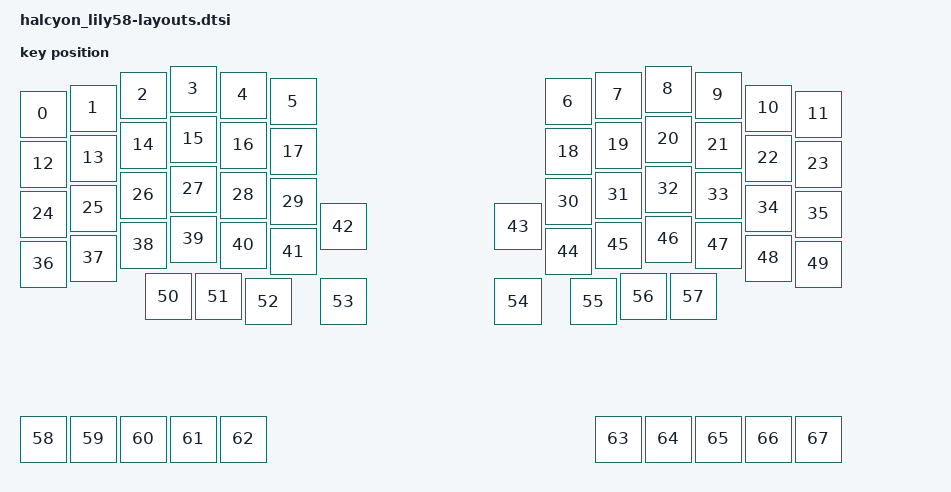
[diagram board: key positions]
#include <physical_layouts.dtsi>

/ {
    splitkb_halcyon_lily58: splitkb_halcyon_lily58 {
        compatible = "zmk,physical-layout";
        display-name = "Halcyon Lily58";

        keys  //                     w   h    x    y     rot    rx    ry
            = <&key_physical_attrs 100 100    0   50       0     0     0>
            , <&key_physical_attrs 100 100  100   38       0     0     0>
            , <&key_physical_attrs 100 100  200   12       0     0     0>
            , <&key_physical_attrs 100 100  300    0       0     0     0>
            , <&key_physical_attrs 100 100  400   12       0     0     0>
            , <&key_physical_attrs 100 100  500   25       0     0     0>
            , <&key_physical_attrs 100 100 1050   25       0     0     0>
            , <&key_physical_attrs 100 100 1150   12       0     0     0>
            , <&key_physical_attrs 100 100 1250    0       0     0     0>
            , <&key_physical_attrs 100 100 1350   12       0     0     0>
            , <&key_physical_attrs 100 100 1450   38       0     0     0>
            , <&key_physical_attrs 100 100 1550   50       0     0     0>
            , <&key_physical_attrs 100 100    0  150       0     0     0>
            , <&key_physical_attrs 100 100  100  138       0     0     0>
            , <&key_physical_attrs 100 100  200  112       0     0     0>
            , <&key_physical_attrs 100 100  300  100       0     0     0>
            , <&key_physical_attrs 100 100  400  112       0     0     0>
            , <&key_physical_attrs 100 100  500  125       0     0     0>
            , <&key_physical_attrs 100 100 1050  125       0     0     0>
            , <&key_physical_attrs 100 100 1150  112       0     0     0>
            , <&key_physical_attrs 100 100 1250  100       0     0     0>
            , <&key_physical_attrs 100 100 1350  112       0     0     0>
            , <&key_physical_attrs 100 100 1450  138       0     0     0>
            , <&key_physical_attrs 100 100 1550  150       0     0     0>
            , <&key_physical_attrs 100 100    0  250       0     0     0>
            , <&key_physical_attrs 100 100  100  238       0     0     0>
            , <&key_physical_attrs 100 100  200  212       0     0     0>
            , <&key_physical_attrs 100 100  300  200       0     0     0>
            , <&key_physical_attrs 100 100  400  212       0     0     0>
            , <&key_physical_attrs 100 100  500  225       0     0     0>
            , <&key_physical_attrs 100 100 1050  225       0     0     0>
            , <&key_physical_attrs 100 100 1150  212       0     0     0>
            , <&key_physical_attrs 100 100 1250  200       0     0     0>
            , <&key_physical_attrs 100 100 1350  212       0     0     0>
            , <&key_physical_attrs 100 100 1450  238       0     0     0>
            , <&key_physical_attrs 100 100 1550  250       0     0     0>
            , <&key_physical_attrs 100 100    0  350       0     0     0>
            , <&key_physical_attrs 100 100  100  338       0     0     0>
            , <&key_physical_attrs 100 100  200  312       0     0     0>
            , <&key_physical_attrs 100 100  300  300       0     0     0>
            , <&key_physical_attrs 100 100  400  312       0     0     0>
            , <&key_physical_attrs 100 100  500  325       0     0     0>
            , <&key_physical_attrs 100 100  600  275       0     0     0>
            , <&key_physical_attrs 100 100  950  275       0     0     0>
            , <&key_physical_attrs 100 100 1050  325       0     0     0>
            , <&key_physical_attrs 100 100 1150  312       0     0     0>
            , <&key_physical_attrs 100 100 1250  300       0     0     0>
            , <&key_physical_attrs 100 100 1350  312       0     0     0>
            , <&key_physical_attrs 100 100 1450  338       0     0     0>
            , <&key_physical_attrs 100 100 1550  350       0     0     0>
            , <&key_physical_attrs 100 100  250  415       0     0     0>
            , <&key_physical_attrs 100 100  350  415       0     0     0>
            , <&key_physical_attrs 100 100  450  425       0     0     0>
            , <&key_physical_attrs 100 100  600  425       0     0     0>
            , <&key_physical_attrs 100 100  950  425       0     0     0>
            , <&key_physical_attrs 100 100 1100  425       0     0     0>
            , <&key_physical_attrs 100 100 1200  415       0     0     0>
            , <&key_physical_attrs 100 100 1300  415       0     0     0>
            , <&key_physical_attrs 100 100    0  700       0     0     0>
            , <&key_physical_attrs 100 100  100  700       0     0     0>
            , <&key_physical_attrs 100 100  200  700       0     0     0>
            , <&key_physical_attrs 100 100  300  700       0     0     0>
            , <&key_physical_attrs 100 100  400  700       0     0     0>
            , <&key_physical_attrs 100 100 1150  700       0     0     0>
            , <&key_physical_attrs 100 100 1250  700       0     0     0>
            , <&key_physical_attrs 100 100 1350  700       0     0     0>
            , <&key_physical_attrs 100 100 1450  700       0     0     0>
            , <&key_physical_attrs 100 100 1550  700       0     0     0>
            ;
    };
};
